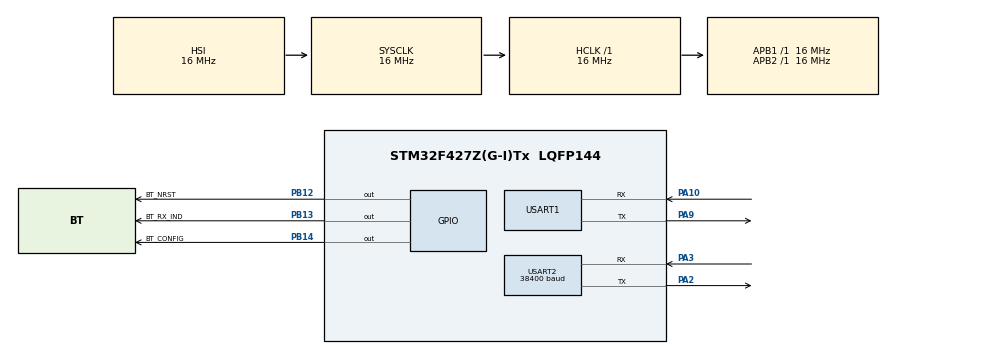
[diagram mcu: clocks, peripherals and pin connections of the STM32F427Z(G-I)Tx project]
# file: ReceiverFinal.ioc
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Mcu.Family=STM32F4
Mcu.Name=STM32F427Z(G-I)Tx
Mcu.Package=LQFP144
NVIC.PriorityGroup=NVIC_PRIORITYGROUP_4
PA10.Mode=Asynchronous
PA10.Signal=USART1_RX
PA13.Mode=Trace_Asynchronous_SW
PA13.Signal=SYS_JTMS-SWDIO
PA14.Mode=Trace_Asynchronous_SW
PA14.Signal=SYS_JTCK-SWCLK
PA2.Mode=Asynchronous
PA2.Signal=USART2_TX
PA3.Mode=Asynchronous
PA3.Signal=USART2_RX
PA9.Mode=Asynchronous
PA9.Signal=USART1_TX
PB12.GPIO_Label=BT_NRST
PB12.GPIO_PuPd=GPIO_PULLDOWN
PB12.Signal=GPIO_Output
PB13.GPIO_Label=BT_RX_IND
PB13.GPIO_PuPd=GPIO_PULLDOWN
PB13.PinState=GPIO_PIN_RESET
PB13.Signal=GPIO_Output
PB14.GPIO_Label=BT_CONFIG
PB14.GPIO_PuPd=GPIO_PULLDOWN
PB14.PinState=GPIO_PIN_RESET
PB14.Signal=GPIO_Output
PB3.Mode=Trace_Asynchronous_SW
PB3.Signal=SYS_JTDO-SWO
ProjectManager.HeapSize=0x200
ProjectManager.StackSize=0x400
ProjectManager.TargetToolchain=STM32CubeIDE
RCC.AHBFreq_Value=16000000
RCC.APB1Freq_Value=16000000
RCC.APB2Freq_Value=16000000
RCC.CortexFreq_Value=16000000
RCC.HSE_VALUE=25000000
RCC.HSI_VALUE=16000000
RCC.LSE_VALUE=32768
RCC.SYSCLKFreq_VALUE=16000000
RCC.VCOOutputFreq_Value=192000000
USART1.VirtualMode=VM_ASYNC
USART2.BaudRate=38400
USART2.VirtualMode=VM_ASYNC
board=custom

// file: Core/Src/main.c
/* USER CODE BEGIN Header */
/**
  ******************************************************************************
  * @file           : main.c
  * @brief          : Main program body
  ******************************************************************************
  * @attention
  *
  * <h2><center>&copy; Copyright (c) 2021 STMicroelectronics.
  * All rights reserved.</center></h2>
  *
  * This software component is licensed by ST under BSD 3-Clause license,
  * the "License"; You may not use this file except in compliance with the
  * License. You may obtain a copy of the License at:
  *                        opensource.org/licenses/BSD-3-Clause
  *
  ******************************************************************************
  */
/* USER CODE END Header */
#include "main.h"

/* USER CODE BEGIN Includes */
#include <string.h>
#include <stdio.h>
#include <math.h>
#include <stdbool.h>
#include <BT_Flash_Commands.h>
/* USER CODE END Includes */

UART_HandleTypeDef huart1;
UART_HandleTypeDef huart2;

/* USER CODE BEGIN PV */
uint8_t buf[128]={0};
/* USER CODE END PV */

void SystemClock_Config(void);
static void MX_GPIO_Init(void);
static void MX_USART2_UART_Init(void);
static void MX_USART1_UART_Init(void);

int main(void)
{

  /* MCU Configuration--------------------------------------------------------*/

  /* Reset of all peripherals, Initializes the Flash interface and the Systick. */
  HAL_Init();

  /* Configure the system clock */
  SystemClock_Config();

  /* Initialize all configured peripherals */
  MX_GPIO_Init();
  MX_USART2_UART_Init();
  MX_USART1_UART_Init();
  /* USER CODE BEGIN 2 */

  BT_ConfigRun();

  /* USER CODE END 2 */

  /* Infinite loop */
  /* USER CODE BEGIN WHILE */

  HAL_StatusTypeDef RetStatus;

  uint8_t RxBuffer[4] = {0};
  _Bool RunFlag = true;

  while (RunFlag == true) {

	//Receive data over uart1
	RetStatus = HAL_UART_Receive(&huart1, RxBuffer, 1, 400);
	if(RetStatus == HAL_OK){
		 sprintf((char*)buf, "Message Rec\r\n");
	  	 HAL_UART_Transmit(&huart2, buf, strlen((char*)buf), 50 );
	  	 RunFlag = false;
	}else{
		sprintf((char*)buf, "Rec Failed\r\n");
		HAL_UART_Transmit(&huart2, buf, strlen((char*)buf), 50 );
	}
	HAL_Delay(50);

  }

	 sprintf((char*)buf, "Message Received is: %c\r\n", RxBuffer[0] );
	 HAL_UART_Transmit(&huart2, buf, strlen((char*)buf), 50 );

	 sprintf((char*)buf, "Finished\r\n");
	 HAL_UART_Transmit(&huart2, buf, strlen((char*)buf), 50 );

    /* USER CODE END WHILE */
	HAL_Delay(50);
}

void SystemClock_Config(void)
{
  RCC_OscInitTypeDef RCC_OscInitStruct = {0};
  RCC_ClkInitTypeDef RCC_ClkInitStruct = {0};

  /** Configure the main internal regulator output voltage
  */
  __HAL_RCC_PWR_CLK_ENABLE();
  __HAL_PWR_VOLTAGESCALING_CONFIG(PWR_REGULATOR_VOLTAGE_SCALE3);
  /** Initializes the RCC Oscillators according to the specified parameters
  * in the RCC_OscInitTypeDef structure.
  */
  RCC_OscInitStruct.OscillatorType = RCC_OSCILLATORTYPE_HSI;
  RCC_OscInitStruct.HSIState = RCC_HSI_ON;
  RCC_OscInitStruct.HSICalibrationValue = RCC_HSICALIBRATION_DEFAULT;
  RCC_OscInitStruct.PLL.PLLState = RCC_PLL_NONE;
  if (HAL_RCC_OscConfig(&RCC_OscInitStruct) != HAL_OK)
  {
    Error_Handler();
  }
  /** Initializes the CPU, AHB and APB buses clocks
  */
  RCC_ClkInitStruct.ClockType = RCC_CLOCKTYPE_HCLK|RCC_CLOCKTYPE_SYSCLK
                              |RCC_CLOCKTYPE_PCLK1|RCC_CLOCKTYPE_PCLK2;
  RCC_ClkInitStruct.SYSCLKSource = RCC_SYSCLKSOURCE_HSI;
  RCC_ClkInitStruct.AHBCLKDivider = RCC_SYSCLK_DIV1;
  RCC_ClkInitStruct.APB1CLKDivider = RCC_HCLK_DIV1;
  RCC_ClkInitStruct.APB2CLKDivider = RCC_HCLK_DIV1;

  if (HAL_RCC_ClockConfig(&RCC_ClkInitStruct, FLASH_LATENCY_0) != HAL_OK)
  {
    Error_Handler();
  }
}

static void MX_USART1_UART_Init(void)
{

  huart1.Instance = USART1;
  huart1.Init.BaudRate = 115200;
  huart1.Init.WordLength = UART_WORDLENGTH_8B;
  huart1.Init.StopBits = UART_STOPBITS_1;
  huart1.Init.Parity = UART_PARITY_NONE;
  huart1.Init.Mode = UART_MODE_TX_RX;
  huart1.Init.HwFlowCtl = UART_HWCONTROL_NONE;
  huart1.Init.OverSampling = UART_OVERSAMPLING_16;
  if (HAL_UART_Init(&huart1) != HAL_OK)
  {
    Error_Handler();
  }

}

static void MX_USART2_UART_Init(void)
{

  huart2.Instance = USART2;
  huart2.Init.BaudRate = 38400;
  huart2.Init.WordLength = UART_WORDLENGTH_8B;
  huart2.Init.StopBits = UART_STOPBITS_1;
  huart2.Init.Parity = UART_PARITY_NONE;
  huart2.Init.Mode = UART_MODE_TX_RX;
  huart2.Init.HwFlowCtl = UART_HWCONTROL_NONE;
  huart2.Init.OverSampling = UART_OVERSAMPLING_16;
  if (HAL_UART_Init(&huart2) != HAL_OK)
  {
    Error_Handler();
  }

}

static void MX_GPIO_Init(void)
{
  GPIO_InitTypeDef GPIO_InitStruct = {0};

  /* GPIO Ports Clock Enable */
  __HAL_RCC_GPIOA_CLK_ENABLE();
  __HAL_RCC_GPIOB_CLK_ENABLE();

  /*Configure GPIO pin Output Level */
  HAL_GPIO_WritePin(GPIOB, BT_NRST_Pin|BT_RX_IND_Pin|BT_CONFIG_Pin, GPIO_PIN_RESET);

  /*Configure GPIO pins : BT_NRST_Pin BT_RX_IND_Pin BT_CONFIG_Pin */
  GPIO_InitStruct.Pin = BT_NRST_Pin|BT_RX_IND_Pin|BT_CONFIG_Pin;
  GPIO_InitStruct.Mode = GPIO_MODE_OUTPUT_PP;
  GPIO_InitStruct.Pull = GPIO_PULLDOWN;
  GPIO_InitStruct.Speed = GPIO_SPEED_FREQ_LOW;
  HAL_GPIO_Init(GPIOB, &GPIO_InitStruct);

}

void Error_Handler(void)
{
  __disable_irq();
  while (1)
  {
  }
}

/************************ (C) COPYRIGHT STMicroelectronics *****END OF FILE****/
